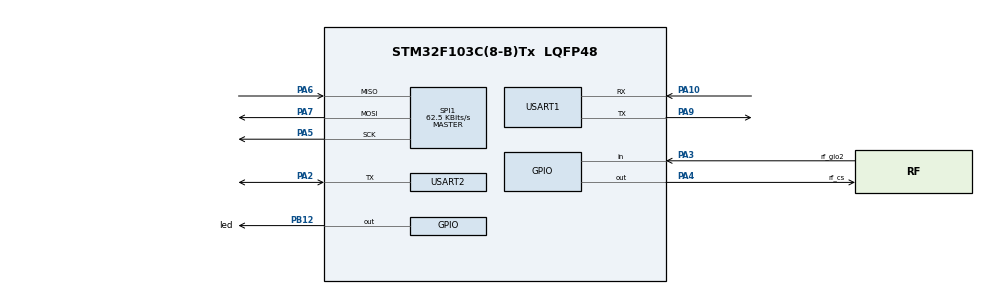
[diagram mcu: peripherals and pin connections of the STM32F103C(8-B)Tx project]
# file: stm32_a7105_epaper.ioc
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Dma.Request0=USART1_RX
Dma.Request1=USART1_TX
Dma.USART1_RX.0.Direction=DMA_PERIPH_TO_MEMORY
Dma.USART1_RX.0.Instance=DMA1_Channel5
Dma.USART1_RX.0.MemDataAlignment=DMA_MDATAALIGN_BYTE
Dma.USART1_RX.0.MemInc=DMA_MINC_ENABLE
Dma.USART1_RX.0.Mode=DMA_NORMAL
Dma.USART1_RX.0.PeriphDataAlignment=DMA_PDATAALIGN_BYTE
Dma.USART1_RX.0.PeriphInc=DMA_PINC_DISABLE
Dma.USART1_RX.0.Priority=DMA_PRIORITY_LOW
Dma.USART1_TX.1.Direction=DMA_MEMORY_TO_PERIPH
Dma.USART1_TX.1.Instance=DMA1_Channel4
Dma.USART1_TX.1.MemDataAlignment=DMA_MDATAALIGN_BYTE
Dma.USART1_TX.1.MemInc=DMA_MINC_ENABLE
Dma.USART1_TX.1.Mode=DMA_NORMAL
Dma.USART1_TX.1.PeriphDataAlignment=DMA_PDATAALIGN_BYTE
Dma.USART1_TX.1.PeriphInc=DMA_PINC_DISABLE
Dma.USART1_TX.1.Priority=DMA_PRIORITY_LOW
Mcu.Family=STM32F1
Mcu.Name=STM32F103C(8-B)Tx
Mcu.Package=LQFP48
NVIC.DMA1_Channel4_IRQn=true\:0\:0\:false\:false\:true\:false\:true
NVIC.DMA1_Channel5_IRQn=true\:0\:0\:false\:false\:true\:false\:true
NVIC.PriorityGroup=NVIC_PRIORITYGROUP_4
NVIC.USART1_IRQn=true\:0\:0\:false\:false\:true\:true\:true
PA10.Mode=Asynchronous
PA10.Signal=USART1_RX
PA13.Mode=Serial_Wire
PA13.Signal=SYS_JTMS-SWDIO
PA14.Mode=Serial_Wire
PA14.Signal=SYS_JTCK-SWCLK
PA2.Mode=Half_duplex(single_wire_mode)
PA2.Signal=USART2_TX
PA3.GPIO_Label=rf_gio2
PA3.GPIO_PuPd=GPIO_PULLUP
PA3.Signal=GPIO_Input
PA4.GPIO_Label=rf_cs
PA4.GPIO_PuPd=GPIO_PULLUP
PA4.GPIO_Speed=GPIO_SPEED_FREQ_HIGH
PA4.PinState=GPIO_PIN_SET
PA4.Signal=GPIO_Output
PA5.Mode=Full_Duplex_Master
PA5.Signal=SPI1_SCK
PA6.Mode=Full_Duplex_Master
PA6.Signal=SPI1_MISO
PA7.Mode=Full_Duplex_Master
PA7.Signal=SPI1_MOSI
PA9.Mode=Asynchronous
PA9.Signal=USART1_TX
PB12.GPIO_Label=led
PB12.Signal=GPIO_Output
PD0-OSC_IN.Mode=HSE-External-Oscillator
PD0-OSC_IN.Signal=RCC_OSC_IN
PD1-OSC_OUT.Mode=HSE-External-Oscillator
PD1-OSC_OUT.Signal=RCC_OSC_OUT
ProjectManager.HeapSize=0x200
ProjectManager.StackSize=0x400
ProjectManager.TargetToolchain=STM32CubeIDE
RCC.APB1Freq_Value=8000000
RCC.APB2Freq_Value=8000000
RCC.SYSCLKSource=RCC_SYSCLKSOURCE_HSE
SPI1.BaudRatePrescaler=SPI_BAUDRATEPRESCALER_128
SPI1.CLKPhase=SPI_PHASE_1EDGE
SPI1.CalculateBaudRate=62.5 KBits/s
SPI1.Direction=SPI_DIRECTION_2LINES
SPI1.Mode=SPI_MODE_MASTER
SPI1.VirtualType=VM_MASTER
USART1.VirtualMode=VM_ASYNC
USART2.VirtualMode=VM_ASYNC
board=custom

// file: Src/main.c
/* USER CODE BEGIN Header */
/**
 ******************************************************************************
 * @file           : main.c
 * @brief          : Main program body
 ******************************************************************************
 * @attention
 *
 * <h2><center>&copy; Copyright (c) 2019 STMicroelectronics.
 * All rights reserved.</center></h2>
 *
 * This software component is licensed by ST under BSD 3-Clause license,
 * the "License"; You may not use this file except in compliance with the
 * License. You may obtain a copy of the License at:
 *                        opensource.org/licenses/BSD-3-Clause
 *
 ******************************************************************************
 */
/* USER CODE END Header */

#include "main.h"

/* USER CODE BEGIN Includes */
#include "uarttask.h"
#include "logdebug.h"
#include "a7105.h"
#include "a7105reg.h"
#include <stdio.h>
/* USER CODE END Includes */

/* USER CODE BEGIN PD */
#define BUFFER_SIZE 200;
/* USER CODE END PD */

SPI_HandleTypeDef hspi1;

UART_HandleTypeDef huart1;
UART_HandleTypeDef huart2;
DMA_HandleTypeDef hdma_usart1_rx;
DMA_HandleTypeDef hdma_usart1_tx;

/* USER CODE BEGIN PV */
volatile uint8_t rx_len=0;
volatile uint8_t recv_end_flag=0;
uint8_t rx_buffer[200];

uint16_t RX_BUFFER_SIZE = 200;

uint8_t connected_with_host = 0;
/* USER CODE END PV */

void SystemClock_Config(void);
static void MX_GPIO_Init(void);
static void MX_DMA_Init(void);
static void MX_USART1_UART_Init(void);
static void MX_SPI1_Init(void);
static void MX_USART2_UART_Init(void);

/* USER CODE BEGIN 0 */
static void check_uart();
static void check_rf();
/* USER CODE END 0 */

int main(void)
{

	/* MCU Configuration--------------------------------------------------------*/

	/* Reset of all peripherals, Initializes the Flash interface and the Systick. */
	HAL_Init();

	/* Configure the system clock */
	SystemClock_Config();

	/* Initialize all configured peripherals */
	MX_GPIO_Init();
	MX_DMA_Init();
	MX_USART1_UART_Init();
	MX_SPI1_Init();
	MX_USART2_UART_Init();

	/* Infinite loop */
	/* USER CODE BEGIN WHILE */
	debuglog("stm32 with spi, build %s %s \r\n", __DATE__, __TIME__);
	initRF();

	StrobeCmd(CMD_STBY);

	A7105_ToRxMode();

	while (1)
	{
		/* USER CODE END WHILE */

		/* USER CODE BEGIN 3 */

		check_uart();
		check_rf();

	}
	/* USER CODE END 3 */
}

void SystemClock_Config(void)
{
	RCC_OscInitTypeDef RCC_OscInitStruct = {0};
	RCC_ClkInitTypeDef RCC_ClkInitStruct = {0};

	/** Initializes the CPU, AHB and APB busses clocks
	 */
	RCC_OscInitStruct.OscillatorType = RCC_OSCILLATORTYPE_HSE;
	RCC_OscInitStruct.HSEState = RCC_HSE_ON;
	RCC_OscInitStruct.PLL.PLLState = RCC_PLL_NONE;
	if (HAL_RCC_OscConfig(&RCC_OscInitStruct) != HAL_OK)
	{
		Error_Handler();
	}
	/** Initializes the CPU, AHB and APB busses clocks
	 */
	RCC_ClkInitStruct.ClockType = RCC_CLOCKTYPE_HCLK|RCC_CLOCKTYPE_SYSCLK
			|RCC_CLOCKTYPE_PCLK1|RCC_CLOCKTYPE_PCLK2;
	RCC_ClkInitStruct.SYSCLKSource = RCC_SYSCLKSOURCE_HSE;
	RCC_ClkInitStruct.AHBCLKDivider = RCC_SYSCLK_DIV1;
	RCC_ClkInitStruct.APB1CLKDivider = RCC_HCLK_DIV1;
	RCC_ClkInitStruct.APB2CLKDivider = RCC_HCLK_DIV1;

	if (HAL_RCC_ClockConfig(&RCC_ClkInitStruct, FLASH_LATENCY_0) != HAL_OK)
	{
		Error_Handler();
	}
}

static void MX_SPI1_Init(void)
{

	/* SPI1 parameter configuration*/
	hspi1.Instance = SPI1;
	hspi1.Init.Mode = SPI_MODE_MASTER;
	hspi1.Init.Direction = SPI_DIRECTION_2LINES;
	hspi1.Init.DataSize = SPI_DATASIZE_8BIT;
	hspi1.Init.CLKPolarity = SPI_POLARITY_LOW;
	hspi1.Init.CLKPhase = SPI_PHASE_1EDGE;
	hspi1.Init.NSS = SPI_NSS_SOFT;
	hspi1.Init.BaudRatePrescaler = SPI_BAUDRATEPRESCALER_128;
	hspi1.Init.FirstBit = SPI_FIRSTBIT_MSB;
	hspi1.Init.TIMode = SPI_TIMODE_DISABLE;
	hspi1.Init.CRCCalculation = SPI_CRCCALCULATION_DISABLE;
	hspi1.Init.CRCPolynomial = 10;
	if (HAL_SPI_Init(&hspi1) != HAL_OK)
	{
		Error_Handler();
	}

}

static void MX_USART1_UART_Init(void)
{

	huart1.Instance = USART1;
	huart1.Init.BaudRate = 115200;
	huart1.Init.WordLength = UART_WORDLENGTH_8B;
	huart1.Init.StopBits = UART_STOPBITS_1;
	huart1.Init.Parity = UART_PARITY_NONE;
	huart1.Init.Mode = UART_MODE_TX_RX;
	huart1.Init.HwFlowCtl = UART_HWCONTROL_NONE;
	huart1.Init.OverSampling = UART_OVERSAMPLING_16;
	if (HAL_UART_Init(&huart1) != HAL_OK)
	{
		Error_Handler();
	}
	/* USER CODE BEGIN USART1_Init 2 */

	__HAL_UART_ENABLE_IT(&huart1, UART_IT_IDLE);//使能idle中断
	HAL_UART_Receive_DMA(&huart1,rx_buffer, RX_BUFFER_SIZE);//打开DMA接收，数据存入rx_buffer数组中�??
	/* USER CODE END USART1_Init 2 */

}

static void MX_USART2_UART_Init(void)
{

	huart2.Instance = USART2;
	huart2.Init.BaudRate = 115200;
	huart2.Init.WordLength = UART_WORDLENGTH_8B;
	huart2.Init.StopBits = UART_STOPBITS_1;
	huart2.Init.Parity = UART_PARITY_NONE;
	huart2.Init.Mode = UART_MODE_TX_RX;
	huart2.Init.HwFlowCtl = UART_HWCONTROL_NONE;
	huart2.Init.OverSampling = UART_OVERSAMPLING_16;
	if (HAL_HalfDuplex_Init(&huart2) != HAL_OK)
	{
		Error_Handler();
	}

}

static void MX_DMA_Init(void)
{

	/* DMA controller clock enable */
	__HAL_RCC_DMA1_CLK_ENABLE();

	/* DMA interrupt init */
	/* DMA1_Channel4_IRQn interrupt configuration */
	HAL_NVIC_SetPriority(DMA1_Channel4_IRQn, 0, 0);
	HAL_NVIC_EnableIRQ(DMA1_Channel4_IRQn);
	/* DMA1_Channel5_IRQn interrupt configuration */
	HAL_NVIC_SetPriority(DMA1_Channel5_IRQn, 0, 0);
	HAL_NVIC_EnableIRQ(DMA1_Channel5_IRQn);

}

static void MX_GPIO_Init(void)
{
	GPIO_InitTypeDef GPIO_InitStruct = {0};

	/* GPIO Ports Clock Enable */
	__HAL_RCC_GPIOD_CLK_ENABLE();
	__HAL_RCC_GPIOA_CLK_ENABLE();
	__HAL_RCC_GPIOB_CLK_ENABLE();

	/*Configure GPIO pin Output Level */
	HAL_GPIO_WritePin(rf_cs_GPIO_Port, rf_cs_Pin, GPIO_PIN_SET);

	/*Configure GPIO pin Output Level */
	HAL_GPIO_WritePin(led_GPIO_Port, led_Pin, GPIO_PIN_RESET);

	/*Configure GPIO pin : rf_gio2_Pin */
	GPIO_InitStruct.Pin = rf_gio2_Pin;
	GPIO_InitStruct.Mode = GPIO_MODE_INPUT;
	GPIO_InitStruct.Pull = GPIO_PULLUP;
	HAL_GPIO_Init(rf_gio2_GPIO_Port, &GPIO_InitStruct);

	/*Configure GPIO pin : rf_cs_Pin */
	GPIO_InitStruct.Pin = rf_cs_Pin;
	GPIO_InitStruct.Mode = GPIO_MODE_OUTPUT_PP;
	GPIO_InitStruct.Pull = GPIO_PULLUP;
	GPIO_InitStruct.Speed = GPIO_SPEED_FREQ_HIGH;
	HAL_GPIO_Init(rf_cs_GPIO_Port, &GPIO_InitStruct);

	/*Configure GPIO pin : led_Pin */
	GPIO_InitStruct.Pin = led_Pin;
	GPIO_InitStruct.Mode = GPIO_MODE_OUTPUT_PP;
	GPIO_InitStruct.Pull = GPIO_NOPULL;
	GPIO_InitStruct.Speed = GPIO_SPEED_FREQ_LOW;
	HAL_GPIO_Init(led_GPIO_Port, &GPIO_InitStruct);

}

/* USER CODE BEGIN 4 */
void check_uart()
{
	if(recv_end_flag ==1)
	{
		//printf("rx_len=%d\r\n",rx_len);//打印接收长度
		//			HAL_UART_Transmit(&huart1,rx_buffer, rx_len, 5000); //接收数据打印出来
		//			for(uint8_t i=0;i<rx_len;i++)
		//				{
		//					rx_buffer[i]=0;//清接收缓�?
		//				}

		parse_rx_buf((char *)rx_buffer, rx_len);

		rx_len=0;//清除计数
		recv_end_flag=0;//清除接收结束标志�?
	}
	//reenable dma rx
	HAL_UART_Receive_DMA(&huart1,rx_buffer, RX_BUFFER_SIZE);
}

void check_rf()
{
	if (GPIO_PIN_RESET == HAL_GPIO_ReadPin(rf_gio2_GPIO_Port, rf_gio2_Pin))
	{
		if (A7105_CRC_OK()) {
			debuglog("rf gio2 is low, should have rx data \r\n");
			uint8_t buf[64] = {0};

			RxPacket(buf, 64);
			// read first few bytes
			for (int i = 0; i < 8; i++) {
				debuglog("%02X \r\n", buf[i]);
			}

			uint8_t rssi = A7105_ReadRSSI();
			debuglog("rssi: %d \r\n", rssi);

			if (connected_with_host)
			{
				// report to host pc
				report_rf_data(buf, 64);
			} else {
				// send back via RF
				HAL_Delay(500);

				uint8_t respbuf[64] = {0};
				int strlength = sprintf((char *)respbuf, "response: ");
				for (int i = strlength + 1; i < 40; i++)
				{
					respbuf[i] = buf[i - strlength - 1];
				}

				A7105_TxData(respbuf, 64);
			}

		} else {
			debuglog("crc error \r\n");
			uint8_t buf[64] = {0};
			RxPacket(buf, 64);

			A7105_ToStbMode();
			HAL_Delay(100);
		}

		// back to rx mode
		A7105_ToRxMode();

	}

}
/* USER CODE END 4 */

void Error_Handler(void)
{
}

/************************ (C) COPYRIGHT STMicroelectronics *****END OF FILE****/
